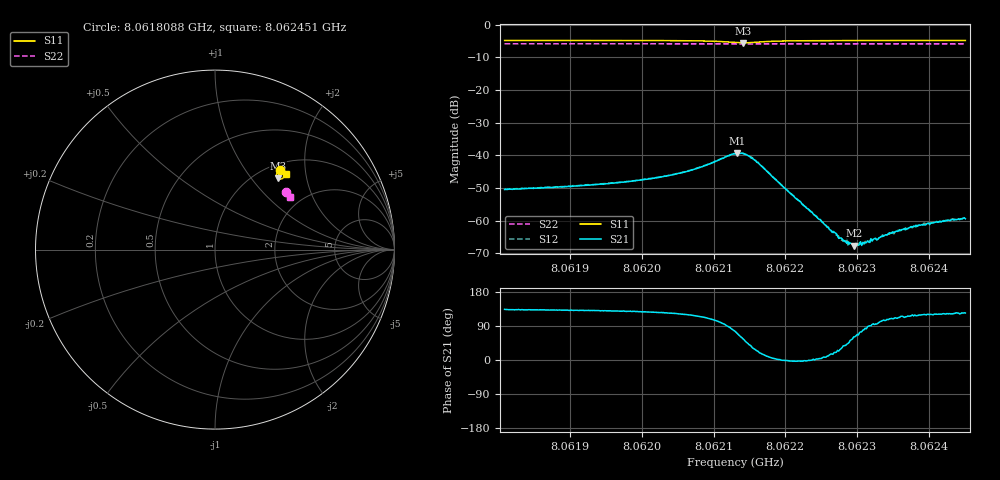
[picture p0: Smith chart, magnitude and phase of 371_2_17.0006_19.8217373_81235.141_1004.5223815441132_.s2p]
#  HZ  S  RI  R  50.00
! Rohde & Schwarz Vector Network Analyzer
! Rohde-Schwarz,ZNB20-2Port,1311601062101988,3.16
! Created: UTC 3/20/2024, 11:08:44 PM
! freq[Hz]  re:S11  im:S11  re:S21  im:S21  re:S12  im:S12  re:S22  im:S22
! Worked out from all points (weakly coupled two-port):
!   401 points, 8.0618088 GHz to 8.062451 GHz, reference 50 ohm
!   highest |S21| = -39.31 dB at 8.0621331 GHz (marker M1); lowest = -67.6 dB at 8.0622953 GHz (marker M2)
!   lowest |S11| = -5.5 dB at 8.0621411 GHz (marker M3), VSWR 3.25, Z = 62.1 + j68.6 ohm
!   |S11| at or under -10 dB: nowhere
!   |S22| runs from -5.9 to -5.8 dB; largest |S21 - S12| = 0.00081
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8.06180881e9  0.3648 0.4457  -0.00208 0.00218  -0.00197 0.00237  0.3976 0.3232
8.06191638e9  0.3722 0.4394  -0.00227 0.00261  -0.00212 0.00273  0.4017 0.3179
8.06198059e9  0.3772 0.4343  -0.00249 0.0031  -0.00228 0.00327  0.4041 0.3146
8.06202394e9  0.3807 0.4295  -0.00266 0.00375  -0.00248 0.00393  0.4058 0.3123
8.06207371e9  0.385 0.4196  -0.0028 0.00551  -0.00247 0.00571  0.4075 0.3096
8.0621299e9  0.3657 0.3927  0.00256 0.0102  0.0033 0.0101  0.4082 0.306
8.06213311e9  0.3615 0.3928  0.00368 0.0102  0.00445 0.00991  0.4081 0.3058
8.06214114e9  0.3509 0.3969  0.00608 0.00888  0.00652 0.00847  0.408 0.3056
8.06215077e9  0.3432 0.4085  0.00739 0.00603  0.00798 0.00552  0.4082 0.3059
8.06216201e9  0.344 0.4218  0.0071 0.00301  0.00749 0.00248  0.4086 0.3059
8.06223747e9  0.3725 0.4346  0.00134 2.21e-06  0.00135 -8.3e-05  0.4127 0.3024
8.06226315e9  0.3768 0.4328  0.000691 0.000195  0.000737 0.000112  0.4138 0.3011
8.06227921e9  0.3787 0.4317  0.000443 0.000286  0.000447 0.000233  0.4144 0.3003
8.06228724e9  0.3798 0.4313  0.000349 0.00033  0.000318 0.00028  0.4145 0.2999
8.06229526e9  0.3806 0.4308  0.000204 0.000364  0.000282 0.000345  0.4149 0.2995
8.06230971e9  0.3822 0.4299  8.14e-05 0.000453  0.000101 0.000427  0.4154 0.2987
8.06233058e9  0.3841 0.4286  -8.54e-05 0.000542  -1.3e-05 0.000544  0.4163 0.2975
8.0623354e9  0.3845 0.4283  -0.000139 0.000557  -8.74e-05 0.000601  0.4163 0.2974
8.06234503e9  0.3853 0.4277  -0.000206 0.00062  -0.000152 0.000604  0.4167 0.2968
8.06237875e9  0.388 0.4257  -0.000368 0.000738  -0.000308 0.00077  0.418 0.2951
8.06239641e9  0.3892 0.4246  -0.000424 0.00077  -0.000397 0.000801  0.4185 0.2941
8.06245099e9  0.3929 0.4216  -0.0006 0.00089  -0.000542 0.000937  0.4204 0.2913
